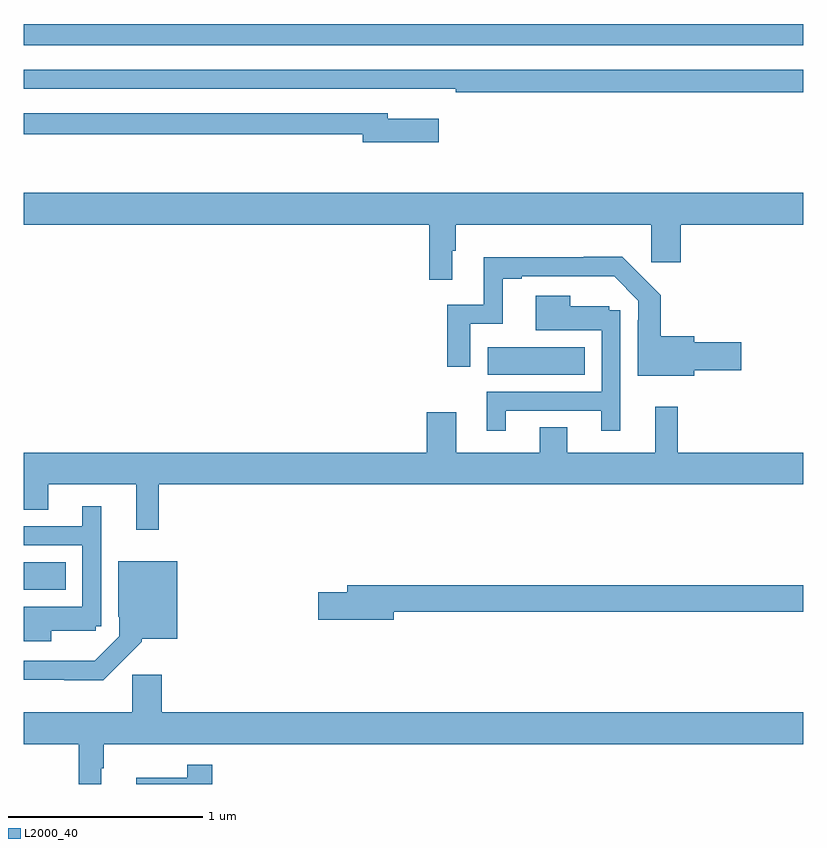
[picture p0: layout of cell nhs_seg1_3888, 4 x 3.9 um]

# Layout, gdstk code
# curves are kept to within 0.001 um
import gdstk
lib = gdstk.Library(unit=1e-6, precision=1e-09)
def R(c, l, rs):  # rectangles x0, y0, x1, y1
    for r in rs: c.add(gdstk.rectangle(r[:2], r[2:], *l))
def P(c, l, *ps):  # polygons
    for p in ps: c.add(gdstk.Polygon(p, *l))
L2000_40 = (2000, 40)

nhs_seg1_3888 = lib.new_cell('nhs_seg1_3888')
R(nhs_seg1_3888, L2000_40, [(323,547.196,323.216,547.336), (325.38,548.3,325.88,548.44), (323,549.99,327,550.099)])
P(nhs_seg1_3888, L2000_40, [(327,549.864),(323,549.864),(323,549.768),(324.964,549.768),(324.964,549.767),(325.216,549.767),(325.216,549.748),(327,549.748)],
  [(325.129,549.613),(324.868,549.613),(324.868,549.642),(323,549.642),(323,549.534),(324.74,549.534),(324.74,549.491),(325.129,549.491)],
  [(325.198,548.936),(325.217,548.936),(325.217,549.068),(326.221,549.068),(326.221,548.877),(326.372,548.877),(326.372,549.068),(327,549.068),(327,549.232),(323,549.232),(323,549.068),(325.081,549.068),(325.081,548.787),(325.198,548.787)],
  [(326.44,548.323),(326.683,548.323),(326.683,548.465),(326.44,548.465),(326.44,548.496),(326.27,548.496),(326.27,548.707),(326.072,548.905),(325.873,548.905),(325.873,548.902),(325.361,548.902),(325.361,548.658),(325.174,548.658),(325.174,548.34),(325.29,548.34),(325.29,548.562),(325.459,548.562),(325.459,548.793),(325.555,548.793),(325.555,548.805),(326.029,548.805),(326.154,548.679),(326.154,548.579),(326.151,548.579),(326.151,548.294),(326.44,548.294)],
  [(325.474,548.115),(325.964,548.115),(325.964,548.013),(326.061,548.013),(326.061,548.631),(326.004,548.631),(326.004,548.65),(325.804,548.65),(325.804,548.704),(325.628,548.704),(325.628,548.528),(325.965,548.528),(325.965,548.211),(325.376,548.211),(325.376,548.013),(325.474,548.013)],
  [(323.693,547.736),(327,547.736),(327,547.9),(326.357,547.9),(326.357,548.134),(326.24,548.134),(326.24,547.9),(325.789,547.9),(325.789,548.03),(325.649,548.03),(325.649,547.9),(325.219,547.9),(325.219,548.107),(325.067,548.107),(325.067,547.9),(323,547.9),(323,547.606),(323.125,547.606),(323.125,547.736),(323.576,547.736),(323.576,547.503),(323.693,547.503)],
  [(323.14,546.986),(323.37,546.986),(323.37,547.008),(323.397,547.008),(323.397,547.624),(323.3,547.624),(323.3,547.521),(323,547.521),(323,547.425),(323.301,547.425),(323.301,547.108),(323,547.108),(323,546.932),(323.14,546.932)],
  [(323.606,546.929),(323.606,546.944),(323.788,546.944),(323.788,547.342),(323.486,547.342),(323.486,547.057),(323.49,547.057),(323.49,546.957),(323.365,546.832),(323,546.831),(323,546.734),(323.209,546.734),(323.209,546.732),(323.408,546.732)],
  [(324.898,547.084),(327,547.084),(327,547.22),(324.659,547.22),(324.659,547.184),(324.51,547.184),(324.51,547.042),(324.898,547.042)],
  [(323.398,546.281),(323.41,546.281),(323.41,546.404),(327,546.404),(327,546.568),(323.708,546.568),(323.708,546.759),(323.557,546.759),(323.557,546.568),(323,546.568),(323,546.404),(323.281,546.404),(323.281,546.199),(323.398,546.199)],
  [(323.966,546.298),(323.838,546.298),(323.838,546.232),(323.576,546.232),(323.576,546.199),(323.966,546.199)])

lib.write_gds('nhs_seg1_3888.gds')
